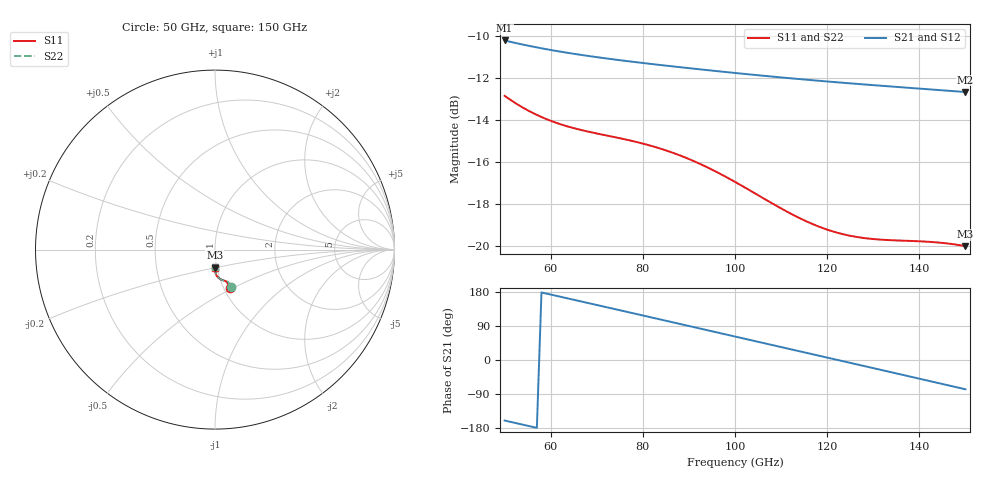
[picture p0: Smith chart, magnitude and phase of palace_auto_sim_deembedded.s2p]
! Created with skrf 1.11.0 (http://scikit-rf.org).
# GHz S DB R 50.0
!freq dBS11 angS11 dBS21 angS21 dBS12 angS12 dBS22 angS22
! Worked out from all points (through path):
!   101 points, 50 GHz to 150 GHz, reference 50 ohm
!   highest |S21| = -10.22 dB at 50 GHz (marker M1); lowest = -12.7 dB at 150 GHz (marker M2)
!   group delay of S21, straight-line fit = 7.71 ps
!   lowest |S11| = -20.0 dB at 150 GHz (marker M3), VSWR 1.22, Z = 48.9 - j9.87 ohm
!   |S11| at or under -10 dB: start of sweep to end of sweep
!   |S22| runs from -20.2 to -12.9 dB; largest |S21 - S12| = 4.9e-13
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50  -12.85 -68.9  -10.22 -159.7  -10.22 -159.7  -12.85 -67.1
54  -13.42 -69.3  -10.41 -170.8  -10.41 -170.8  -13.39 -67.3
58  -13.86 -69.5  -10.59 178.2  -10.59 178.2  -13.80 -67.5
62  -14.20 -69.9  -10.74 167.2  -10.74 167.2  -14.10 -67.8
67  -14.50 -70.7  -10.92 153.4  -10.92 153.4  -14.37 -68.7
72  -14.73 -72.2  -11.07 139.6  -11.07 139.6  -14.59 -70.4
76  -14.92 -73.9  -11.18 128.6  -11.18 128.6  -14.77 -72.3
80  -15.13 -76.0  -11.29 117.5  -11.29 117.5  -14.97 -74.5
84  -15.38 -78.3  -11.39 106.4  -11.39 106.4  -15.23 -76.9
88  -15.69 -80.7  -11.49 95.3  -11.49 95.3  -15.54 -79.5
92  -16.05 -83.1  -11.58 84.2  -11.58 84.2  -15.92 -81.9
96  -16.48 -85.3  -11.67 73.1  -11.67 73.1  -16.36 -84.2
100  -16.95 -87.1  -11.76 61.9  -11.76 61.9  -16.84 -86.1
109  -18.09 -89.2  -11.96 36.9  -11.96 36.9  -18.02 -88.5
113  -18.56 -89.3  -12.04 25.8  -12.04 25.8  -18.52 -88.6
117  -18.97 -88.8  -12.11 14.7  -12.11 14.7  -18.95 -88.3
121  -19.29 -88.1  -12.19 3.6  -12.19 3.6  -19.29 -87.6
125  -19.51 -87.3  -12.26 -7.5  -12.26 -7.5  -19.54 -86.9
129  -19.65 -86.7  -12.33 -18.6  -12.33 -18.6  -19.69 -86.3
134  -19.73 -86.5  -12.41 -32.6  -12.41 -32.6  -19.80 -86.2
142  -19.80 -87.8  -12.54 -54.9  -12.54 -54.9  -19.92 -87.7
150  -20.01 -90.6  -12.67 -77.2  -12.67 -77.2  -20.18 -90.7
